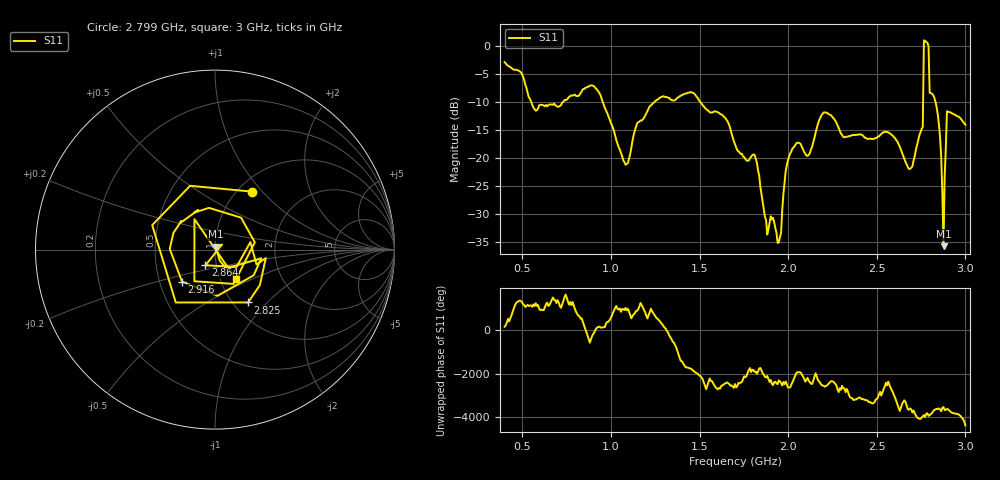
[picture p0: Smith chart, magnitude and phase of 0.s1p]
!Created with skrf (http://scikit-rf.org).
# Hz S RI R 50.0
!freq ReS11 ImS11
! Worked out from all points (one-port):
!   401 points, 400 MHz to 3 GHz, reference 50 ohm
!   lowest |S11| = -35.8 dB at 2.877 GHz (marker M1), VSWR 1.03, Z = 50.4 + j1.59 ohm
!   |S11| at or under -10 dB: 550.7 MHz to 728.3 MHz (177.5 MHz wide, 27.8 % of centre); 954 MHz to 1.245 GHz (291.4 MHz wide, 26.5 % of centre); 1.505 GHz to 2.761 GHz (1.256 GHz wide, 58.9 % of centre) (the widest 3 of 4)
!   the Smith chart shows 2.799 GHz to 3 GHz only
!   S11 on the Smith chart (normalised r, x): 2.799 GHz: 1.16, +0.88; 2.825 GHz: 1.17, -0.78; 2.864 GHz: 0.89, -0.16; 2.916 GHz: 0.65, -0.25; 3 GHz: 1.19, -0.40
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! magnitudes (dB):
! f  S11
! 400 MHz  -2.8
! 569 MHz  -11.2
! 725 MHz  -10.1
! 907 MHz  -7.2
! 1.05 GHz  -18.5
! 1.089 GHz  -21.1
! 1.226 GHz  -10.6
! 1.375 GHz  -9.2
! 1.7 GHz  -17.5
! 1.81 GHz  -19.4
! 1.875 GHz  -31.2
! 1.947 GHz  -35.2
! 1.992 GHz  -21.3
! 2.025 GHz  -18.3
! 2.116 GHz  -19.4
! 2.207 GHz  -11.8
! 2.35 GHz  -16.0
! 2.571 GHz  -15.5
! 2.675 GHz  -21.6
! 2.747 GHz  -15.4
! 2.779 GHz  0.7
! 2.799 GHz  -8.3
! 2.825 GHz  -9.2
! 2.85 GHz  -13.9
! 2.864 GHz  -19.8
! 2.877 GHz  -35.8
! 2.916 GHz  -11.8
! 3 GHz  -14.1
